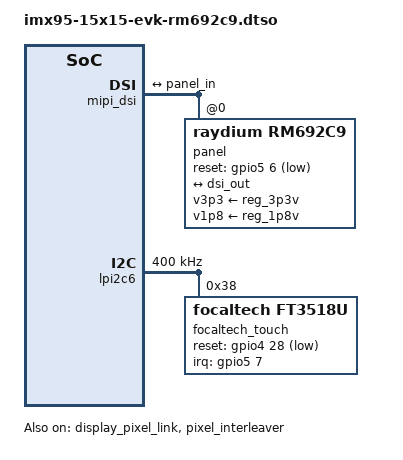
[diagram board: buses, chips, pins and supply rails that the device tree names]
// SPDX-License-Identifier: (GPL-2.0+ OR MIT)
/*
 * Copyright 2024 NXP
 */

/dts-v1/;
/plugin/;

#include "imx95-clock.h"
#include <dt-bindings/gpio/gpio.h>
#include "imx95-pinfunc.h"

&scmi_iomuxc {
	pinctrl_touch: touchgrp {
		fsl,pins = <
			IMX95_PAD_XSPI1_DATA7__GPIO5_IO_BIT7			0x31e
			IMX95_PAD_CCM_CLKO3__GPIO4_IO_BIT28				0x31e
		>;
	};
};

&display_pixel_link {
	status = "okay";
};

&dpu {
	assigned-clocks = <&scmi_clk IMX95_CLK_DISP1PIX>,
			  <&scmi_clk IMX95_CLK_VIDEOPLL1_VCO>,
			  <&scmi_clk IMX95_CLK_VIDEOPLL1>;
	assigned-clock-parents = <&scmi_clk IMX95_CLK_VIDEOPLL1>;
	assigned-clock-rates = <0>, <4008000000>, <445333334>;
};

&mipi_dsi {
	#address-cells = <1>;
	#size-cells = <0>;
	status = "okay";

	panel@0 {
		compatible = "raydium,rm692c9";
		reg = <0>;
		reset-gpio = <&gpio5 6 GPIO_ACTIVE_LOW>;
		dsi-lanes = <4>;
		v3p3-supply = <&reg_3p3v>;
		v1p8-supply = <&reg_1p8v>;
		pinctrl-names = "default";
		pinctrl-0 = <&pinctrl_mipi_dsi_csi>;

		port {
			panel_in: endpoint {
				remote-endpoint = <&dsi_out>;
			};
		};
	};

	ports {
		#address-cells = <1>;
		#size-cells = <0>;

		port@1 {
			reg = <1>;

			dsi_out: endpoint {
				remote-endpoint = <&panel_in>;
			};
		};
	};
};

&lpi2c6 {
	#address-cells = <1>;
	#size-cells = <0>;
	clock-frequency = <400000>;

	focaltech_touch: touchscreen@38 {
		compatible = "focaltech,ft3518u";
		reg = <0x38>;
		pinctrl-names = "default";
		pinctrl-0 = <&pinctrl_touch>;
		reset-gpio = <&gpio4 28 GPIO_ACTIVE_LOW>;
		irq-gpio = <&gpio5 7 GPIO_ACTIVE_HIGH>;
		touchscreen-size-x = <1080>;
		touchscreen-size-y = <2340>;
		max-touch-number = <10>;
		status = "okay";
	};
};

&pixel_interleaver {
	#address-cells = <1>;
	#size-cells = <0>;
	status = "okay";

	channel@0 {
		reg = <0>;
		status = "okay";
	};
};
